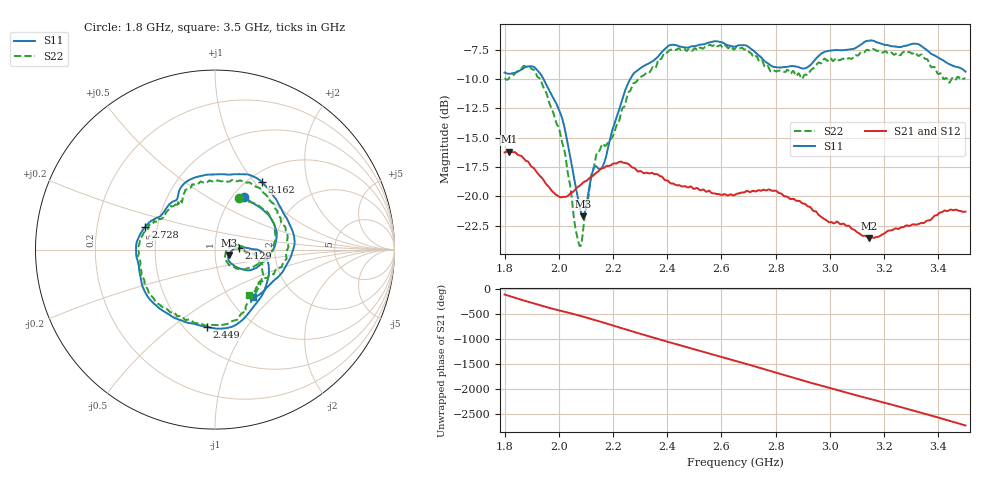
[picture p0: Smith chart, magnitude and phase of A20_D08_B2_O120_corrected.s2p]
! Created with skrf 1.9.0 (http://scikit-rf.org).
# Hz S RI R 50.0
!freq ReS11 ImS11 ReS21 ImS21 ReS12 ImS12 ReS22 ImS22
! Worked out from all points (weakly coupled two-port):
!   1601 points, 1.8 GHz to 3.5 GHz, reference 50 ohm
!   highest |S21| = -16.19 dB at 1.816 GHz (marker M1); lowest = -23.5 dB at 3.144 GHz (marker M2)
!   lowest |S11| = -21.7 dB at 2.09 GHz (marker M3), VSWR 1.18, Z = 58.2 - j3.48 ohm
!   |S11| at or under -10 dB: 1.943 GHz to 2.264 GHz (320.2 MHz wide, 15.2 % of centre)
!   |S22| runs from -24.2 to -7.1 dB; largest |S21 - S12| = 0.003
!   S11 on the Smith chart (normalised r, x): 1.8 GHz: 1.13, +0.75; 2.129 GHz: 1.30, +0.02; 2.449 GHz: 0.63, -0.67; 2.728 GHz: 0.43, +0.13; 3.162 GHz: 1.14, +1.10; 3.5 GHz: 1.27, -0.77
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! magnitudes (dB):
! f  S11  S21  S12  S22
! 1.8 GHz  -9.5  -16.3  -16.3  -9.9
! 1.816 GHz  -9.6  -16.2  -16.2  -9.9
! 1.886 GHz  -8.9  -17.0  -17.1  -8.9
! 1.939 GHz  -9.8  -18.5  -18.5  -10.5
! 2.013 GHz  -13.4  -20.1  -20.1  -15.4
! 2.066 GHz  -19.6  -19.3  -19.3  -23.2
! 2.084 GHz  -21.5  -19.0  -18.9  -24.0
! 2.09 GHz  -21.7  -18.8  -18.9  -22.8
! 2.129 GHz  -17.6  -18.2  -18.2  -17.5
! 2.166 GHz  -17.2  -17.6  -17.5  -15.6
! 2.266 GHz  -9.9  -17.4  -17.4  -10.9
! 2.367 GHz  -8.1  -18.2  -18.1  -8.4
! 2.449 GHz  -7.3  -19.1  -19.1  -7.5
! 2.65 GHz  -7.2  -19.9  -19.8  -7.4
! 2.728 GHz  -7.8  -19.6  -19.6  -8.1
! 2.934 GHz  -8.7  -21.1  -21.1  -9.2
! 3.144 GHz  -6.7  -23.5  -23.5  -7.6
! 3.162 GHz  -6.8  -23.5  -23.5  -7.5
! 3.217 GHz  -7.2  -22.9  -22.9  -7.8
! 3.325 GHz  -7.0  -22.4  -22.3  -8.0
! 3.437 GHz  -8.7  -21.2  -21.2  -10.2
! 3.5 GHz  -9.4  -21.3  -21.3  -10.0
